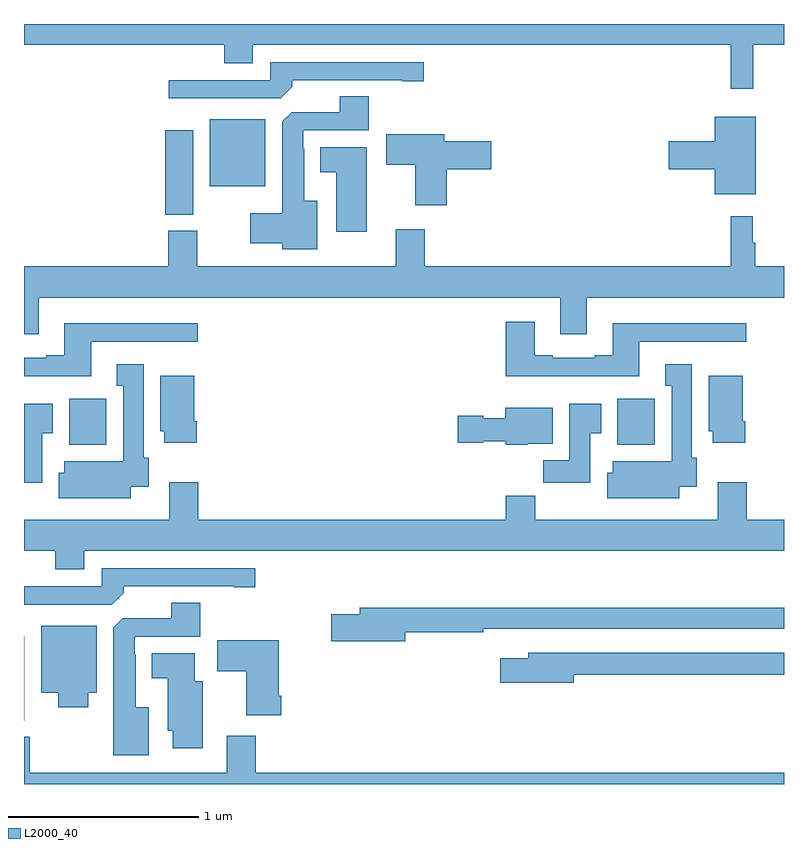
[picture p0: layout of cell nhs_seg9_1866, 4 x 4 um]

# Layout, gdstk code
import gdstk
lib = gdstk.Library(unit=1e-6, precision=1e-09)
def R(c, l, rs):  # rectangles x0, y0, x1, y1
    for r in rs: c.add(gdstk.rectangle(r[:2], r[2:], *l))
def P(c, l, *ps):  # polygons
    for p in ps: c.add(gdstk.Polygon(p, *l))
L2000_40 = (2000, 40)

nhs_seg9_1866 = lib.new_cell('nhs_seg9_1866')
R(nhs_seg9_1866, L2000_40, [(215,1220.834,215.002,1221.277), (215.237,1222.286,215.434,1222.528), (218.123,1222.286,218.32,1222.528), (215.744,1223.497,215.89,1223.941), (215.978,1223.645,216.271,1223.998)])
P(nhs_seg9_1866, L2000_40, [(218.837,1224.392),(219,1224.392),(219,1224.5),(215,1224.5),(215,1224.392),(216.053,1224.392),(216.053,1224.293),(216.205,1224.293),(216.205,1224.392),(218.719,1224.392),(218.719,1224.159),(218.837,1224.159)],
  [(216.413,1224.17),(216.413,1224.204),(216.992,1224.204),(216.992,1224.199),(217.105,1224.199),(217.105,1224.3),(216.297,1224.3),(216.297,1224.204),(215.763,1224.204),(215.763,1224.108),(216.351,1224.108)],
  [(216.544,1223.569),(216.475,1223.569),(216.475,1223.843),(216.471,1223.843),(216.471,1223.94),(216.815,1223.94),(216.815,1224.119),(216.662,1224.119),(216.662,1224.036),(216.408,1224.036),(216.359,1223.987),(216.359,1223.503),(216.192,1223.503),(216.192,1223.345),(216.359,1223.345),(216.359,1223.315),(216.544,1223.315)],
  [(218.851,1224.013),(218.636,1224.013),(218.636,1223.882),(218.394,1223.882),(218.394,1223.735),(218.636,1223.735),(218.636,1223.603),(218.851,1223.603)],
  [(217.226,1223.735),(217.459,1223.735),(217.459,1223.882),(217.213,1223.882),(217.213,1223.92),(216.906,1223.92),(216.906,1223.758),(217.058,1223.758),(217.058,1223.547),(217.226,1223.547)],
  [(216.805,1223.851),(216.56,1223.851),(216.56,1223.72),(216.644,1223.72),(216.644,1223.406),(216.805,1223.406)],
  [(215.077,1223.06),(217.823,1223.06),(217.823,1222.866),(217.963,1222.866),(217.963,1223.06),(219,1223.06),(219,1223.224),(218.848,1223.224),(218.848,1223.348),(218.836,1223.348),(218.836,1223.488),(218.719,1223.488),(218.719,1223.224),(217.109,1223.224),(217.109,1223.419),(216.956,1223.419),(216.956,1223.224),(215.911,1223.224),(215.911,1223.412),(215.759,1223.412),(215.759,1223.224),(215,1223.224),(215,1222.866),(215.077,1222.866)],
  [(218.239,1222.827),(218.8,1222.827),(218.8,1222.924),(218.099,1222.924),(218.099,1222.756),(218.003,1222.756),(218.003,1222.743),(217.783,1222.743),(217.783,1222.756),(217.687,1222.756),(217.687,1222.933),(217.535,1222.933),(217.535,1222.646),(218.239,1222.646)],
  [(215.353,1222.827),(215.914,1222.827),(215.914,1222.924),(215.213,1222.924),(215.213,1222.756),(215.117,1222.756),(215.117,1222.743),(215,1222.743),(215,1222.646),(215.353,1222.646)],
  [(218.449,1222.064),(218.542,1222.064),(218.542,1222.218),(218.515,1222.218),(218.515,1222.708),(218.375,1222.708),(218.375,1222.595),(218.408,1222.595),(218.408,1222.198),(218.099,1222.198),(218.099,1222.139),(218.069,1222.139),(218.069,1222.004),(218.449,1222.004)],
  [(215.563,1222.064),(215.656,1222.064),(215.656,1222.218),(215.629,1222.218),(215.629,1222.708),(215.489,1222.708),(215.489,1222.595),(215.522,1222.595),(215.522,1222.198),(215.213,1222.198),(215.213,1222.139),(215.183,1222.139),(215.183,1222.004),(215.563,1222.004)],
  [(218.795,1222.408),(218.782,1222.408),(218.782,1222.648),(218.603,1222.648),(218.603,1222.356),(218.624,1222.356),(218.624,1222.296),(218.795,1222.296)],
  [(215.909,1222.408),(215.896,1222.408),(215.896,1222.648),(215.717,1222.648),(215.717,1222.356),(215.738,1222.356),(215.738,1222.296),(215.909,1222.296)],
  [(215.095,1222.345),(215.152,1222.345),(215.152,1222.501),(215,1222.501),(215,1222.086),(215.095,1222.086)],
  [(217.981,1222.345),(218.038,1222.345),(218.038,1222.501),(217.871,1222.501),(217.871,1222.204),(217.732,1222.204),(217.732,1222.086),(217.981,1222.086)],
  [(217.65,1222.292),(217.783,1222.292),(217.783,1222.48),(217.532,1222.48),(217.532,1222.426),(217.416,1222.426),(217.416,1222.439),(217.284,1222.439),(217.284,1222.297),(217.416,1222.297),(217.416,1222.304),(217.536,1222.304),(217.536,1222.286),(217.65,1222.286)],
  [(215.317,1221.728),(219,1221.728),(219,1221.892),(218.804,1221.892),(218.804,1222.087),(218.651,1222.087),(218.651,1221.892),(217.691,1221.892),(217.691,1222.016),(217.535,1222.016),(217.535,1221.892),(215.918,1221.892),(215.918,1222.087),(215.765,1222.087),(215.765,1221.892),(215,1221.892),(215,1221.728),(215.165,1221.728),(215.165,1221.629),(215.317,1221.629)],
  [(215.525,1221.506),(215.525,1221.54),(216.104,1221.54),(216.104,1221.535),(216.217,1221.535),(216.217,1221.636),(215.409,1221.636),(215.409,1221.54),(215,1221.54),(215,1221.444),(215.463,1221.444)],
  [(215.656,1220.905),(215.587,1220.905),(215.587,1221.179),(215.583,1221.179),(215.583,1221.276),(215.927,1221.276),(215.927,1221.455),(215.774,1221.455),(215.774,1221.372),(215.52,1221.372),(215.471,1221.323),(215.471,1220.651),(215.656,1220.651)],
  [(217.006,1221.298),(217.418,1221.298),(217.418,1221.318),(219,1221.318),(219,1221.427),(216.767,1221.427),(216.767,1221.393),(216.618,1221.393),(216.618,1221.251),(217.006,1221.251)],
  [(215.338,1220.981),(215.383,1220.981),(215.383,1221.334),(215.09,1221.334),(215.09,1220.981),(215.18,1220.981),(215.18,1220.903),(215.338,1220.903)],
  [(216.353,1220.965),(216.34,1220.965),(216.34,1221.256),(216.018,1221.256),(216.018,1221.094),(216.17,1221.094),(216.17,1220.861),(216.353,1220.861)],
  [(217.894,1221.076),(219,1221.076),(219,1221.192),(217.655,1221.192),(217.655,1221.163),(217.506,1221.163),(217.506,1221.034),(217.894,1221.034)],
  [(215.941,1221.04),(215.899,1221.04),(215.899,1221.187),(215.672,1221.187),(215.672,1221.056),(215.756,1221.056),(215.756,1220.781),(215.783,1220.781),(215.783,1220.688),(215.941,1220.688)],
  [(219,1220.56),(216.221,1220.56),(216.221,1220.755),(216.068,1220.755),(216.068,1220.56),(215.031,1220.56),(215.031,1220.749),(215,1220.749),(215,1220.5),(219,1220.5)])

lib.write_gds('nhs_seg9_1866.gds')
